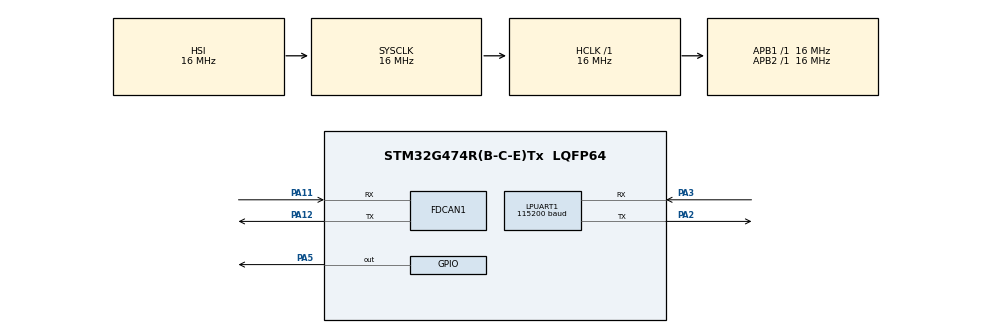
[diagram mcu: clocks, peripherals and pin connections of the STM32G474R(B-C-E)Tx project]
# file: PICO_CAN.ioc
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FDCAN1.AutoRetransmission=DISABLE
FDCAN1.CalculateBaudRateNominal=1000000
FDCAN1.CalculateTimeQuantumNominal=62.5
FDCAN1.ClockDivider=FDCAN_CLOCK_DIV1
FDCAN1.DataPrescaler=1
FDCAN1.DataSyncJumpWidth=1
FDCAN1.DataTimeSeg1=1
FDCAN1.DataTimeSeg2=1
FDCAN1.ExtFiltersNbr=0
FDCAN1.FrameFormat=FDCAN_FRAME_CLASSIC
FDCAN1.Mode=FDCAN_MODE_INTERNAL_LOOPBACK
FDCAN1.NominalPrescaler=1
FDCAN1.NominalSyncJumpWidth=2
FDCAN1.NominalTimeSeg1=13
FDCAN1.NominalTimeSeg2=2
FDCAN1.ProtocolException=DISABLE
FDCAN1.StdFiltersNbr=1
FDCAN1.TransmitPause=DISABLE
FDCAN1.TxFifoQueueMode=FDCAN_TX_FIFO_OPERATION
LPUART1.BaudRate=115200
Mcu.Family=STM32G4
Mcu.Name=STM32G474R(B-C-E)Tx
Mcu.Package=LQFP64
NVIC.FDCAN1_IT0_IRQn=true\:1\:0\:false\:false\:true\:true\:true\:true
NVIC.PriorityGroup=NVIC_PRIORITYGROUP_4
PA11.Mode=FDCAN_Activate
PA11.Signal=FDCAN1_RX
PA12.Mode=FDCAN_Activate
PA12.Signal=FDCAN1_TX
PA13.Mode=Serial_Wire
PA13.Signal=SYS_JTMS-SWDIO
PA14.Mode=Serial_Wire
PA14.Signal=SYS_JTCK-SWCLK
PA2.Mode=Asynchronous
PA2.Signal=LPUART1_TX
PA3.Mode=Asynchronous
PA3.Signal=LPUART1_RX
PA5.Signal=GPIO_Output
ProjectManager.HeapSize=0x200
ProjectManager.StackSize=0x1000
ProjectManager.TargetToolchain=CMake
RCC.AHBFreq_Value=16000000
RCC.APB1Freq_Value=16000000
RCC.APB1TimFreq_Value=16000000
RCC.APB2Freq_Value=16000000
RCC.APB2TimFreq_Value=16000000
RCC.CortexFreq_Value=16000000
RCC.EXTERNAL_CLOCK_VALUE=12288000
RCC.HCLKFreq_Value=16000000
RCC.HSE_VALUE=8000000
RCC.HSI48_VALUE=48000000
RCC.HSI_VALUE=16000000
RCC.LSE_VALUE=32768
RCC.SYSCLKFreq_VALUE=16000000
RCC.USBFreq_Value=64000000
RCC.VCOOutputFreq_Value=128000000
board=custom

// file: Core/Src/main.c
/* USER CODE BEGIN Header */
/**
  ******************************************************************************
  * @file           : main.c
  * @brief          : Main program body
  ******************************************************************************
  * @attention
  *
  * Copyright (c) 2026 STMicroelectronics.
  * All rights reserved.
  *
  * This software is licensed under terms that can be found in the LICENSE file
  * in the root directory of this software component.
  * If no LICENSE file comes with this software, it is provided AS-IS.
  *
  ******************************************************************************
  */
/* USER CODE END Header */
#include "main.h"
#include "fdcan.h"
#include "usart.h"
#include "gpio.h"

/* USER CODE BEGIN Includes */
#if defined(PICO_PIN_LOOP_TEST)
#include "pin_loop_test.h"
#elif defined(PICO_DEVICE_READ)
#include "device_read_app.h"
#else
#include "can_bringup.h"
#endif

/* USER CODE END Includes */

void SystemClock_Config(void);

int main(void)
{

  /* MCU Configuration--------------------------------------------------------*/

  /* Reset of all peripherals, Initializes the Flash interface and the Systick. */
  HAL_Init();

  /* Configure the system clock */
  SystemClock_Config();

  /* Initialize all configured peripherals */
  MX_GPIO_Init();
  MX_LPUART1_UART_Init();
  MX_FDCAN1_Init();
  /* USER CODE BEGIN 2 */
#if defined(PICO_PIN_LOOP_TEST)
  PinLoopTest_Init(&hlpuart1);
#elif defined(PICO_DEVICE_READ)
  DeviceRead_Init(&hfdcan1, &hlpuart1);
#else
  CanTest_Init(&hfdcan1, &hlpuart1);
#endif

  /* USER CODE END 2 */

  /* Infinite loop */
  while (1)
  {

    /* USER CODE BEGIN 3 */
#if defined(PICO_PIN_LOOP_TEST)
    PinLoopTest_Step();
#elif defined(PICO_DEVICE_READ)
    DeviceRead_Step();
#else
    CanTest_Step();
#endif
  }
  /* USER CODE END 3 */
}

void SystemClock_Config(void)
{
  RCC_OscInitTypeDef RCC_OscInitStruct = {0};
  RCC_ClkInitTypeDef RCC_ClkInitStruct = {0};

  /** Configure the main internal regulator output voltage
  */
  HAL_PWREx_ControlVoltageScaling(PWR_REGULATOR_VOLTAGE_SCALE1);

  /** Initializes the RCC Oscillators according to the specified parameters
  * in the RCC_OscInitTypeDef structure.
  */
  RCC_OscInitStruct.OscillatorType = RCC_OSCILLATORTYPE_HSI;
  RCC_OscInitStruct.HSIState = RCC_HSI_ON;
  RCC_OscInitStruct.HSICalibrationValue = RCC_HSICALIBRATION_DEFAULT;
  RCC_OscInitStruct.PLL.PLLState = RCC_PLL_NONE;
  if (HAL_RCC_OscConfig(&RCC_OscInitStruct) != HAL_OK)
  {
    Error_Handler();
  }

  /** Initializes the CPU, AHB and APB buses clocks
  */
  RCC_ClkInitStruct.ClockType = RCC_CLOCKTYPE_HCLK|RCC_CLOCKTYPE_SYSCLK
                              |RCC_CLOCKTYPE_PCLK1|RCC_CLOCKTYPE_PCLK2;
  RCC_ClkInitStruct.SYSCLKSource = RCC_SYSCLKSOURCE_HSI;
  RCC_ClkInitStruct.AHBCLKDivider = RCC_SYSCLK_DIV1;
  RCC_ClkInitStruct.APB1CLKDivider = RCC_HCLK_DIV1;
  RCC_ClkInitStruct.APB2CLKDivider = RCC_HCLK_DIV1;

  if (HAL_RCC_ClockConfig(&RCC_ClkInitStruct, FLASH_LATENCY_0) != HAL_OK)
  {
    Error_Handler();
  }
}

void Error_Handler(void)
{
  __disable_irq();
  while (1)
  {
  }
}
